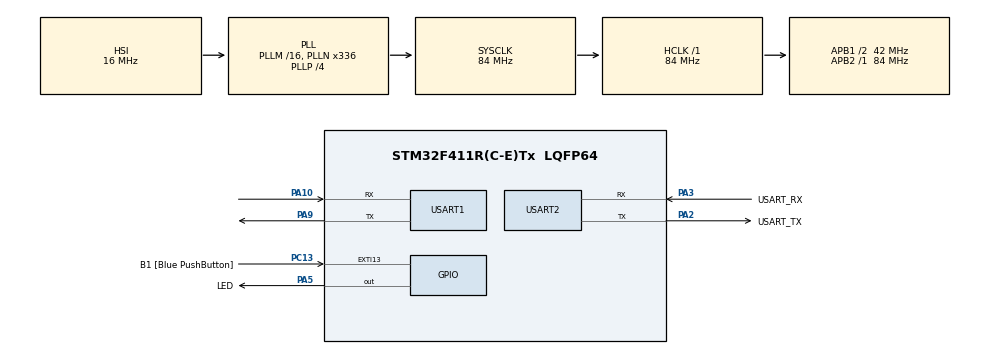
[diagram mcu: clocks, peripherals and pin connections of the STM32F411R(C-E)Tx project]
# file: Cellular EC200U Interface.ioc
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Dma.Request0=USART1_RX
Dma.USART1_RX.0.Direction=DMA_PERIPH_TO_MEMORY
Dma.USART1_RX.0.FIFOMode=DMA_FIFOMODE_DISABLE
Dma.USART1_RX.0.Instance=DMA2_Stream5
Dma.USART1_RX.0.MemDataAlignment=DMA_MDATAALIGN_BYTE
Dma.USART1_RX.0.MemInc=DMA_MINC_ENABLE
Dma.USART1_RX.0.Mode=DMA_CIRCULAR
Dma.USART1_RX.0.PeriphDataAlignment=DMA_PDATAALIGN_BYTE
Dma.USART1_RX.0.PeriphInc=DMA_PINC_DISABLE
Dma.USART1_RX.0.Priority=DMA_PRIORITY_LOW
Mcu.Family=STM32F4
Mcu.Name=STM32F411R(C-E)Tx
Mcu.Package=LQFP64
NVIC.DMA2_Stream5_IRQn=true\:0\:0\:false\:false\:true\:false\:true\:true
NVIC.PriorityGroup=NVIC_PRIORITYGROUP_0
NVIC.USART1_IRQn=true\:0\:0\:false\:false\:true\:true\:true\:true
NVIC.USART2_IRQn=true\:0\:0\:false\:false\:true\:true\:true\:true
PA10.Mode=Asynchronous
PA10.Signal=USART1_RX
PA13.GPIO_Label=TMS
PA13.Mode=Serial_Wire
PA13.Signal=SYS_JTMS-SWDIO
PA14.GPIO_Label=TCK
PA14.Mode=Serial_Wire
PA14.Signal=SYS_JTCK-SWCLK
PA2.GPIO_Label=USART_TX
PA2.Mode=Asynchronous
PA2.Signal=USART2_TX
PA3.GPIO_Label=USART_RX
PA3.Mode=Asynchronous
PA3.Signal=USART2_RX
PA5.GPIO_Label=LED
PA5.Signal=GPIO_Output
PA9.Mode=Asynchronous
PA9.Signal=USART1_TX
PB3.GPIO_Label=SWO
PB3.Signal=SYS_JTDO-SWO
PC13-ANTI_TAMP.GPIO_Label=B1 [Blue PushButton]
PC13-ANTI_TAMP.GPIO_ModeDefaultEXTI=GPIO_MODE_IT_FALLING
PC13-ANTI_TAMP.Signal=GPXTI13
PC14-OSC32_IN.Mode=LSE-External-Oscillator
PC14-OSC32_IN.Signal=RCC_OSC32_IN
PC15-OSC32_OUT.Mode=LSE-External-Oscillator
PC15-OSC32_OUT.Signal=RCC_OSC32_OUT
PH0\ -\ OSC_IN.Mode=HSE-External-Clock-Source
PH0\ -\ OSC_IN.Signal=RCC_OSC_IN
PH1\ -\ OSC_OUT.Mode=HSE-External-Clock-Source
PH1\ -\ OSC_OUT.Signal=RCC_OSC_OUT
ProjectManager.HeapSize=0x200
ProjectManager.StackSize=0x400
ProjectManager.TargetToolchain=STM32CubeIDE
RCC.48MHZClocksFreq_Value=84000000
RCC.AHBFreq_Value=84000000
RCC.APB1CLKDivider=RCC_HCLK_DIV2
RCC.APB1Freq_Value=42000000
RCC.APB1TimFreq_Value=84000000
RCC.APB2Freq_Value=84000000
RCC.APB2TimFreq_Value=84000000
RCC.CortexFreq_Value=84000000
RCC.FLatency-AdvancedSettings=FLASH_LATENCY_2
RCC.HCLKFreq_Value=84000000
RCC.HSE_VALUE=8000000
RCC.HSI_VALUE=16000000
RCC.PLLN=336
RCC.PLLP=RCC_PLLP_DIV4
RCC.SYSCLKFreq_VALUE=84000000
RCC.SYSCLKSource=RCC_SYSCLKSOURCE_PLLCLK
RCC.VCOOutputFreq_Value=336000000
USART1.VirtualMode=VM_ASYNC
USART2.VirtualMode=VM_ASYNC
board=NUCLEO-F411RE

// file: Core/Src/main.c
/* USER CODE BEGIN Header */
/**
  ******************************************************************************
  * @file           : main.c
  * @brief          : Main program body
  ******************************************************************************
  * @attention
  *
  * Copyright (c) 2026 STMicroelectronics.
  * All rights reserved.
  *
  * This software is licensed under terms that can be found in the LICENSE file
  * in the root directory of this software component.
  * If no LICENSE file comes with this software, it is provided AS-IS.
  *
  ******************************************************************************
  */
/* USER CODE END Header */
#include "main.h"
#include "dma.h"
#include "usart.h"
#include "gpio.h"

/* USER CODE BEGIN Includes */
#include <string.h>
#include <string.h>
#include <stdio.h>
#include <stdarg.h>  // For va_list, vsnprintf

/* USER CODE END Includes */

/* USER CODE BEGIN PV */
uint8_t dma_rx_buffer[MODEM_BUF_SIZE]; // DMA raw data pool // UART1 modem RX
char modem_response[MODEM_BUF_SIZE];  // Clean string for processing // UART1 responses
volatile uint8_t modem_data_ready = 0;
uint8_t debug_tx_buf[DEBUG_BUF_SIZE];	// UART2 debug TX

typedef enum {
    MODEM_AT_CHECK,
    MODEM_ECHO_OFF,
	MODEM_NETWORK_CHECK,
    MODEM_SIM_STATUS,
    MODEM_SEND_SMS_CMD,
    MODEM_SMS_BODY,
	MODEM_CALLING,
    MODEM_IDLE
} ModemState_t;

ModemState_t currentState = MODEM_AT_CHECK;
/* USER CODE END PV */

void SystemClock_Config(void);

/* USER CODE BEGIN 0 */

void send_uart (char *string)
{
	uint8_t len = strlen (string);
	HAL_UART_Transmit(&huart2, (uint8_t *) string, len, HAL_MAX_DELAY); // Transmitting in Blocking Mode
}
/* USER CODE END 0 */

int main(void)
{

  /* MCU Configuration--------------------------------------------------------*/

  /* Reset of all peripherals, Initializes the Flash interface and the Systick. */
  HAL_Init();

  /* Configure the system clock */
  SystemClock_Config();

  /* Initialize all configured peripherals */
  MX_GPIO_Init();
  MX_DMA_Init();
  MX_USART2_UART_Init();
  MX_USART1_UART_Init();
  /* USER CODE BEGIN 2 */
  GPIO_InitTypeDef GPIO_InitStruct = {0};
  __HAL_RCC_GPIOA_CLK_ENABLE();

  GPIO_InitStruct.Pin = GPIO_PIN_5;  // PA5 = PWRKEY
  GPIO_InitStruct.Mode = GPIO_MODE_OUTPUT_PP;
  GPIO_InitStruct.Pull = GPIO_NOPULL;
  GPIO_InitStruct.Speed = GPIO_SPEED_FREQ_LOW;
  HAL_GPIO_Init(GPIOA, &GPIO_InitStruct);

  // POWER SEQUENCE - CORRECT TIMING
  HAL_GPIO_WritePin(GPIOA, GPIO_PIN_5, GPIO_PIN_SET);   // HIGH = OFF
  HAL_Delay(500);
  HAL_GPIO_WritePin(GPIOA, GPIO_PIN_5, GPIO_PIN_RESET); // LOW pulse ON
  HAL_Delay(1200);  // 1.2s pulse
  HAL_GPIO_WritePin(GPIOA, GPIO_PIN_5, GPIO_PIN_SET);   // HIGH = running

  send_uart("PWRKEY pulsed - Modem booting...\r\n");
  HAL_Delay(5000);  // Wait RDY URCs

  // === DMA + STATE MACHINE (NEW) ===
  send_uart("Starting DMA SMS Demo...\r\n");

  // Enable UART1 IDLE + Start DMA
  __HAL_UART_ENABLE_IT(&huart1, UART_IT_IDLE);
  HAL_UART_Receive_DMA(&huart1, dma_rx_buffer, MODEM_BUF_SIZE);

  send_uart("Sending first AT Command...\r\n");
  HAL_UART_Transmit(&huart1, (uint8_t*)"AT\r\n", 4, 100);

//  /* NOW RETURN TO YOUR ORIGINAL MAIN LOOP */
//  goto original_main_loop;  // Skip polling while(1)
//
//  uint8_t test_rx[64];
//  uint32_t last_at = 0;
//  while(1) {
//      // Echo modem RX → PuTTY
//      if (HAL_UART_Receive(&huart1, test_rx, 1, 10) == HAL_OK) {
//          HAL_UART_Transmit(&huart2, test_rx, 1, 10);
//      }
//
//      // Auto AT every 3s
//      if (HAL_GetTick() - last_at > 3000) {
//          send_uart("TX> AT\r\n");
//          HAL_UART_Transmit(&huart1, (uint8_t*)"AT\r\n", 4, 100);
//          last_at = HAL_GetTick();
//      }
//  }

  /* USER CODE END 2 */

  /* Infinite loop */
  /* USER CODE BEGIN WHILE */
  //original_main_loop:
  while (1)
  {
	  if (modem_data_ready) {
	          modem_data_ready = 0;

	          // Log response to PuTTY (USART2)
	          send_uart("[MODEM]: ");
	          send_uart(modem_response);
	          send_uart("\r\n");

	          // State Machine Logic
	          if (strstr(modem_response, "OK") || strstr(modem_response, ">")) {
	              switch (currentState) {
	                  case MODEM_AT_CHECK:
	                      currentState = MODEM_ECHO_OFF;
	                      HAL_UART_Transmit(&huart1, (uint8_t*)"ATE0\r\n", 6, 100);
	                      break;

	                  case MODEM_ECHO_OFF:
	                      currentState = MODEM_SIM_STATUS;  // Skip SIM_DETECT - go direct to CPIN
	                      HAL_UART_Transmit(&huart1, (uint8_t*)"AT+CPIN?\r\n", 10, 100);
	                      break;

//	                  case MODEM_SIM_DETECT:
//	                      send_uart("Checking SIM detect...\r\n");
//	                      HAL_UART_Transmit(&huart1, (uint8_t*)"AT+QSIMDET\r\n", 12, 100);  // SIM hotplug detect
//	                      break;

	                  case MODEM_SIM_STATUS:
	                      if (strstr(modem_response, "+CPIN: READY") || strstr(modem_response, "READY")) {
	                          send_uart("SIM OK! Checking network...\r\n");
	                          currentState = MODEM_NETWORK_CHECK;
	                          HAL_UART_Transmit(&huart1, (uint8_t*)"AT+CREG?\r\n", 10, 100);  // Circuit switched
	                          HAL_UART_Transmit(&huart1, (uint8_t*)"AT+CEREG?\r\n", 10, 100); // Packet switched
	                      }
	                      break;

	                  case MODEM_NETWORK_CHECK:
	                      if (strstr(modem_response, "+CREG: 0,1") || strstr(modem_response, "+CREG: 0,5") ||
	                          strstr(modem_response, "+CEREG: 0,1") || strstr(modem_response, "+CEREG: 0,5")) {
	                          send_uart("NETWORK REGISTERED! SMS ready...\r\n");
	                          currentState = MODEM_SEND_SMS_CMD;
	                          HAL_UART_Transmit(&huart1, (uint8_t*)"AT+CMGF=1\r\n", 11, 100);
	                      } else {
	                          send_uart("Waiting network registration...\r\n");
	                          HAL_Delay(5000);
	                          HAL_UART_Transmit(&huart1, (uint8_t*)"AT+CREG?\r\n", 10, 100);
	                      }
	                      break;

	                  case MODEM_SEND_SMS_CMD:  // ← ADD THIS MISSING CASE
	                      send_uart("Setting SMS text mode...\r\n");
	                      currentState = MODEM_SMS_BODY;
	                      HAL_UART_Transmit(&huart1, (uint8_t*)"AT+CMGS=\"+91...\"\r\n", 25, 100);
	                      break;

	                  case MODEM_SMS_BODY:
	                          HAL_Delay(100);
	                          HAL_UART_Transmit(&huart1, (uint8_t*)"Hello from STM32 DMA Mode!", 26, 100);
	                          uint8_t ctrlZ = 0x1A;
	                          HAL_UART_Transmit(&huart1, &ctrlZ, 1, 100);
	                          send_uart("SMS sent, starting VOICE CALL...\r\n");
	                          currentState = MODEM_CALLING;  // → CALL NEXT
	                          break;

	                  case MODEM_CALLING:  // ← NEW VOICE CALL
	                          send_uart("DIALING +91...\r\n");
	                          HAL_UART_Transmit(&huart1, (uint8_t*)"ATD+91...;\r\n", 20, 100);  // Voice call
	                          HAL_Delay(5000);  // Ring time
	                          HAL_UART_Transmit(&huart1, (uint8_t*)"ATH\r\n", 5, 100);  // Hang up
	                          send_uart("Call ended - System ready\r\n");
	                          currentState = MODEM_IDLE;
	                          break;

	                  case MODEM_IDLE:
	                      HAL_GPIO_WritePin(LED_GPIO_Port, LED_Pin, GPIO_PIN_SET); // Success LED
	                      break;
	              }
	          }
	  }
  }
  /* USER CODE END 3 */
}

void SystemClock_Config(void)
{
  RCC_OscInitTypeDef RCC_OscInitStruct = {0};
  RCC_ClkInitTypeDef RCC_ClkInitStruct = {0};

  /** Configure the main internal regulator output voltage
  */
  __HAL_RCC_PWR_CLK_ENABLE();
  __HAL_PWR_VOLTAGESCALING_CONFIG(PWR_REGULATOR_VOLTAGE_SCALE1);

  /** Initializes the RCC Oscillators according to the specified parameters
  * in the RCC_OscInitTypeDef structure.
  */
  RCC_OscInitStruct.OscillatorType = RCC_OSCILLATORTYPE_HSI;
  RCC_OscInitStruct.HSIState = RCC_HSI_ON;
  RCC_OscInitStruct.HSICalibrationValue = RCC_HSICALIBRATION_DEFAULT;
  RCC_OscInitStruct.PLL.PLLState = RCC_PLL_ON;
  RCC_OscInitStruct.PLL.PLLSource = RCC_PLLSOURCE_HSI;
  RCC_OscInitStruct.PLL.PLLM = 16;
  RCC_OscInitStruct.PLL.PLLN = 336;
  RCC_OscInitStruct.PLL.PLLP = RCC_PLLP_DIV4;
  RCC_OscInitStruct.PLL.PLLQ = 4;
  if (HAL_RCC_OscConfig(&RCC_OscInitStruct) != HAL_OK)
  {
    Error_Handler();
  }

  /** Initializes the CPU, AHB and APB buses clocks
  */
  RCC_ClkInitStruct.ClockType = RCC_CLOCKTYPE_HCLK|RCC_CLOCKTYPE_SYSCLK
                              |RCC_CLOCKTYPE_PCLK1|RCC_CLOCKTYPE_PCLK2;
  RCC_ClkInitStruct.SYSCLKSource = RCC_SYSCLKSOURCE_PLLCLK;
  RCC_ClkInitStruct.AHBCLKDivider = RCC_SYSCLK_DIV1;
  RCC_ClkInitStruct.APB1CLKDivider = RCC_HCLK_DIV2;
  RCC_ClkInitStruct.APB2CLKDivider = RCC_HCLK_DIV1;

  if (HAL_RCC_ClockConfig(&RCC_ClkInitStruct, FLASH_LATENCY_2) != HAL_OK)
  {
    Error_Handler();
  }
}

void Error_Handler(void)
{
  __disable_irq();
  while (1)
  {
  }
}
